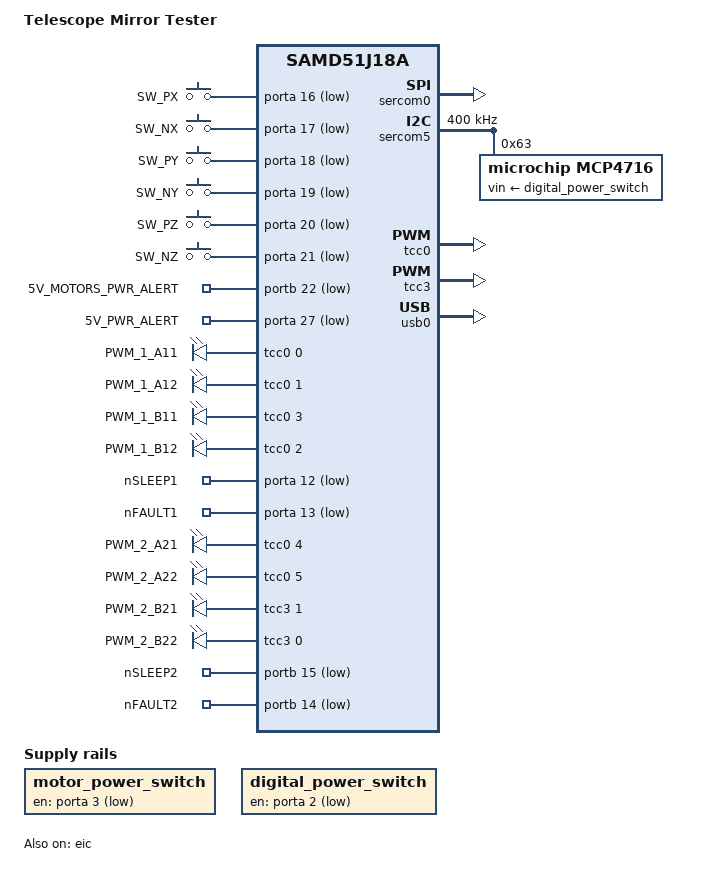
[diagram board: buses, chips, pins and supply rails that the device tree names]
/*
 * Copyright (c) 2020 Google LLC.
 *
 * SPDX-License-Identifier: Apache-2.0
 */

/dts-v1/;
#include <atmel/samd5xx18.dtsi>

/ {
	model = "Telescope Mirror Tester";
	compatible = "atmel,samd51j18a";

	chosen {
		zephyr,console = &sercom3;
		zephyr,shell-uart = &sercom3;
		zephyr,sram = &sram0;
		zephyr,flash = &flash0;
	};

	limit_switches {
		compatible = "gpio-keys";
		switch_positive_x: SW3_1 {
			gpios = <&porta 16 (GPIO_ACTIVE_LOW)>;
			label = "SW_PX";
		};
		switch_negative_x: SW3_3 {
			gpios = <&porta 17 (GPIO_ACTIVE_LOW)>;
			label = "SW_NX";
		};
		switch_positive_y: SW4_1 {
			gpios = <&porta 18 (GPIO_ACTIVE_LOW)>;
			label = "SW_PY";
		};
		switch_negative_y: SW4_3 {
			gpios = <&porta 19 (GPIO_ACTIVE_LOW)>;
			label = "SW_NY";
		};
		switch_positive_z: J11 {
			gpios = <&porta 20 (GPIO_ACTIVE_LOW)>;
			label = "SW_PZ";
		};
		switch_negative_z: J12 {
			gpios = <&porta 21 (GPIO_ACTIVE_LOW)>;
			label = "SW_NZ";
		};
	};

	power_monitor_flags {
		compatible = "gpio-keys";
		motor_drives_alert: OC_1 {
			gpios = <&portb 22 (GPIO_ACTIVE_LOW)>;
			label = "5V_MOTORS_PWR_ALERT";
		};
		laser_drive_alert: OC_2 {
			gpios = <&porta 27 (GPIO_ACTIVE_LOW)>;
			label = "5V_PWR_ALERT";
		};
	};

	power_switches {
		motor_power_switch: EN_1 {
			compatible = "regulator-fixed";
			enable-gpios = <&porta 3 (GPIO_ACTIVE_LOW)>;
			label = "5V_MOTORS_PWR_SWITCH";
			regulator-name = "5V_MOTORS_PWR_SWITCH";
		};
		digital_power_switch: EN_2 {
			compatible = "regulator-fixed-sync", "regulator-fixed";
			enable-gpios = <&porta 2 (GPIO_ACTIVE_LOW)>;
			label = "5V_PWR_SWITCH";
			regulator-name = "5V_PWR_SWITCH";
			regulator-boot-on;
			startup-delay-us = <10000>;
		};
	};

	motor_drive_1_pwm {
		compatible = "pwm-leds";
		pwm1x_pos: pwms_a11 {
			pwms = <&tcc0 0>;
			label = "PWM_1_A11";
		};
		pwm1x_neg: pwms_a12 {
			pwms = <&tcc0 1>;
			label = "PWM_1_A12";
		};
		pwm1y_pos: pwms_b11 {
			pwms = <&tcc0 3>;
			label = "PWM_1_B11";
		};
		pwm1y_neg: pwms_b12 {
			pwms = <&tcc0 2>;
			label = "PWM_1_B12";
		};
	};

	motor_drive_1_control {
		compatible = "gpio-keys";
		pwm_sleep_1: sleep_pwm1 {
			gpios = <&porta 12 GPIO_ACTIVE_LOW>;
			label = "nSLEEP1";
		};
		pwm_fault_1: fault_pwm1 {
			gpios = <&porta 13 GPIO_ACTIVE_LOW>;
			label = "nFAULT1";
		};
	};

	motor_drive_2_pwm {
		compatible = "pwm-leds";
		pwm2z_pos: pwms_a21 {
			pwms = <&tcc0 4>;
			label = "PWM_2_A21";
		};
		pwm2z_neg: pwms_a22 {
			pwms = <&tcc0 5>;
			label = "PWM_2_A22";
		};
		pwm2t_pos: pwms_b21 {
			pwms = <&tcc3 1>;
			label = "PWM_2_B21";
		};
		pwm2t_neg: pwms_b22 {
			pwms = <&tcc3 0>;
			label = "PWM_2_B22";
		};
	};
	
	motor_drive_2_control {
		compatible = "gpio-keys";
		pwm_sleep_2: sleep_pwm2 {
			gpios = <&portb 15 GPIO_ACTIVE_LOW>;
			label = "nSLEEP2";
		};
		pwm_fault_2: fault_pwm2 {
			gpios = <&portb 14 GPIO_ACTIVE_LOW>;
			label = "nFAULT2";
		};
	};
};

&cpu0 {
	clock-frequency = <120000000>;
};

&sercom0 {
	status = "okay";
	compatible = "atmel,sam0-spi";
	dipo = <2>;
	dopo = <0>;
	#address-cells = <1>;
	#size-cells = <0>;

	cs-gpios = <&portb 6 GPIO_ACTIVE_LOW>, <&portb 7 GPIO_ACTIVE_LOW>;

	x_pos_sensor: pwm3360@0 {
		vin-supply = <&digital_power_switch>;
		compatible = "pixart,pwm3360";
		reg = <0>;
		irq-gpios = <&porta 7 0>;
		spi-max-frequency = <2000000>;
		label = "PMW3360_X";
	};

	y_pos_sensor: pwm3360@1 {
		vin-supply = <&digital_power_switch>;
		compatible = "pixart,pwm3360";
		reg = <1>;
		irq-gpios = <&porta 7 0>;
		spi-max-frequency = <2000000>;
		label = "PMW3360_Y";
	};
};

&sercom5 {
	status = "okay";
	compatible = "atmel,sam0-i2c";
	clock-frequency = <I2C_BITRATE_FAST>;
	#address-cells = <1>;
	#size-cells = <0>;

	laser_dac: mcp4716@63 {
		vin-supply = <&digital_power_switch>;
		status = "okay";
		compatible = "microchip,mcp4716";
		label = "MCP4716";
		reg = <0x63>;
		#io-channel-cells = <1>;
	};
};

&tcc0 {
	status = "okay";
	compatible = "atmel,sam0-tcc-pwm";
	prescaler = <8>;
	#pwm-cells = <1>;
};

&tcc3 {
	status = "okay";
	compatible = "atmel,sam0-tcc-pwm";
	prescaler = <8>;
	#pwm-cells = <1>;
};

&porta {
	status = "okay";
	compatible = "atmel,sam0-gpio";
	gpio-controller;
	#gpio-cells = <2>;
};

&portb {
	status = "okay";
	compatible = "atmel,sam0-gpio";
	gpio-controller;
	#gpio-cells = <2>;
};

&usb0 {
	status = "okay";
};

&dmac {
	status = "okay";
};

&eic {
	status = "okay";
};
